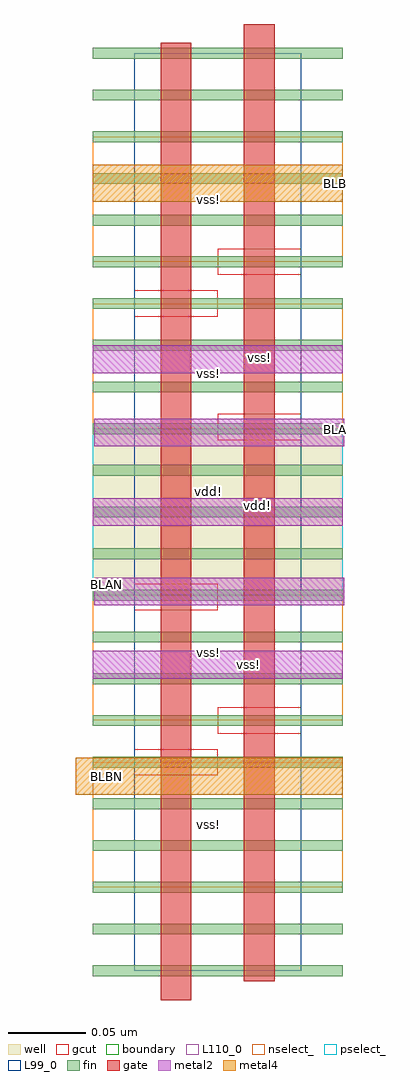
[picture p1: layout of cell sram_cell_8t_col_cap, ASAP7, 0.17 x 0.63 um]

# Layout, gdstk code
import gdstk
lib = gdstk.Library(unit=1e-6, precision=2.5e-10)
def R(c, l, rs):  # rectangles x0, y0, x1, y1
    for r in rs: c.add(gdstk.rectangle(r[:2], r[2:], *l))
def A(c, l, x, y, w, h, nx, ny, dx, dy):  # array of equal rectangles
    R(c, l, [(x+i*dx, y+j*dy, x+i*dx+w, y+j*dy+h) for i in range(nx) for j in range(ny)])
well = (1, 0)
fin = (2, 0)
gate = (7, 0)
gcut = (10, 0)
nselect_ = (12, 0)
pselect_ = (13, 0)
metal2 = (20, 0)
metal4 = (40, 0)
L99_0 = (99, 0)
boundary = (100, 0)
L110_0 = (110, 0)

sram_cell_8t_col_cap = lib.new_cell('sram_cell_8t_col_cap')
R(sram_cell_8t_col_cap, well, [(-0.027,0.081,0.135,0.189)])
A(sram_cell_8t_col_cap, fin, -0.027, -0.1655, 0.162, 0.007, 1, 23, 0, 0.027)
R(sram_cell_8t_col_cap, gate, [(0.017,-0.181,0.037,0.439), (0.071,-0.169,0.091,0.451)])
R(sram_cell_8t_col_cap, gcut, [(0,-0.0355,0.054,-0.0185), (0.054,-0.0085,0.108,0.0085), (0,0.0715,0.054,0.0885), (0.054,0.1815,0.108,0.1985), (0,0.2615,0.054,0.2785), (0.054,0.2885,0.108,0.3055)])
R(sram_cell_8t_col_cap, nselect_, [(-0.027,-0.108,0.135,-0.027), (-0.027,0,0.135,0.081), (-0.027,0.189,0.135,0.27), (-0.027,0.297,0.135,0.378)])
R(sram_cell_8t_col_cap, pselect_, [(-0.027,0.081,0.135,0.189)])
A(sram_cell_8t_col_cap, metal2, -0.027, 0.027, 0.162, 0.018, 1, 3, 0, 0.099)
R(sram_cell_8t_col_cap, metal2, [(-0.026,0.0745,0.136,0.0925), (-0.026,0.1775,0.136,0.1955)])
R(sram_cell_8t_col_cap, metal4, [(-0.038,-0.048,0.135,-0.024), (-0.027,0.336,0.135,0.36)])
R(sram_cell_8t_col_cap, L99_0, [(0,-0.162,0.108,0.432)])
R(sram_cell_8t_col_cap, boundary, [(0,-0.162,0.108,0.432)])
R(sram_cell_8t_col_cap, L110_0, [(0,-0.162,0.108,0.432)])
sram_cell_8t_col_cap.add(gdstk.Label('vss!', (0.081,0.235), layer=20, texttype=251))
sram_cell_8t_col_cap.add(gdstk.Label('vss!', (0.074,0.036), layer=20, texttype=251))
sram_cell_8t_col_cap.add(gdstk.Label('vdd!', (0.0795,0.1395), layer=20, texttype=251))
sram_cell_8t_col_cap.add(gdstk.Label('BLA', (0.13,0.1885), layer=20, texttype=251))
sram_cell_8t_col_cap.add(gdstk.Label('BLAN', (-0.018,0.088), layer=20, texttype=251))
sram_cell_8t_col_cap.add(gdstk.Label('vdd!', (0.048,0.148), layer=1, texttype=251))
sram_cell_8t_col_cap.add(gdstk.Label('vss!', (0.048,0.2245), layer=3, texttype=251))
sram_cell_8t_col_cap.add(gdstk.Label('vss!', (0.048,0.044), layer=3, texttype=251))
sram_cell_8t_col_cap.add(gdstk.Label('BLBN', (-0.018,-0.036), layer=40, texttype=251))
sram_cell_8t_col_cap.add(gdstk.Label('BLB', (0.13,0.348), layer=40, texttype=251))
sram_cell_8t_col_cap.add(gdstk.Label('vss!', (0.048,-0.0675), layer=3, texttype=251))
sram_cell_8t_col_cap.add(gdstk.Label('vss!', (0.048,0.3375), layer=3, texttype=251))

lib.write_gds('sram_cell_8t_col_cap.gds')
